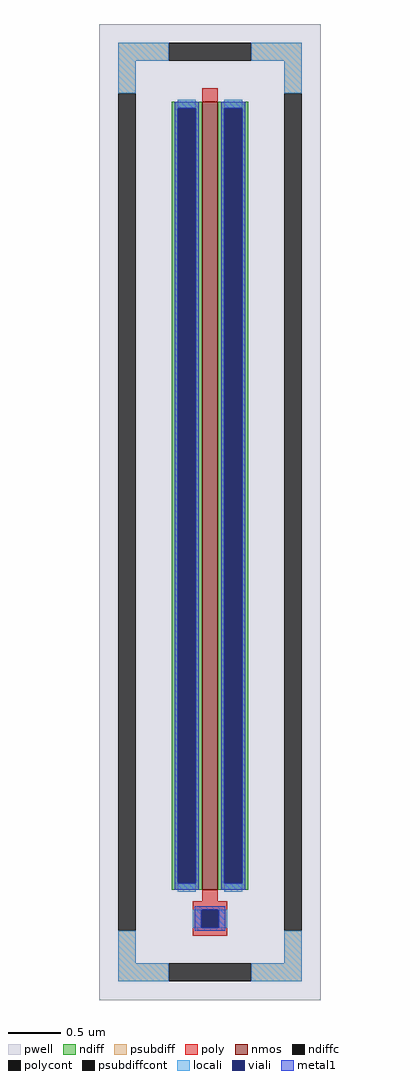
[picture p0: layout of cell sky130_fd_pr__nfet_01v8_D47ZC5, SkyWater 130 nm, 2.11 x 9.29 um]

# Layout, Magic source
magic
tech sky130A
magscale 1 2
<< pwell >>
rect -211 -929 211 929
<< nmos >>
rect -15 -719 15 781
<< ndiff >>
rect -73 769 -15 781
rect -73 -707 -61 769
rect -27 -707 -15 769
rect -73 -719 -15 -707
rect 15 769 73 781
rect 15 -707 27 769
rect 61 -707 73 769
rect 15 -719 73 -707
<< ndiffc >>
rect -61 -707 -27 769
rect 27 -707 61 769
<< psubdiff >>
rect -175 859 -79 893
rect 79 859 175 893
rect -175 797 -141 859
rect 141 797 175 859
rect -175 -859 -141 -797
rect 141 -859 175 -797
rect -175 -893 -79 -859
rect 79 -893 175 -859
<< psubdiffcont >>
rect -79 859 79 893
rect -175 -797 -141 797
rect 141 -797 175 797
rect -79 -893 79 -859
<< poly >>
rect -15 781 15 807
rect -15 -741 15 -719
rect -33 -757 33 -741
rect -33 -791 -17 -757
rect 17 -791 33 -757
rect -33 -807 33 -791
<< polycont >>
rect -17 -791 17 -757
<< locali >>
rect -175 859 -79 893
rect 79 859 175 893
rect -175 797 -141 859
rect 141 797 175 859
rect -61 769 -27 785
rect -61 -723 -27 -707
rect 27 769 61 785
rect 27 -723 61 -707
rect -33 -791 -17 -757
rect 17 -791 33 -757
rect -175 -859 -141 -797
rect 141 -859 175 -797
rect -175 -893 -79 -859
rect 79 -893 175 -859
<< viali >>
rect -61 -707 -27 769
rect 27 -707 61 769
rect -17 -791 17 -757
<< metal1 >>
rect -67 769 -21 781
rect -67 -707 -61 769
rect -27 -707 -21 769
rect -67 -719 -21 -707
rect 21 769 67 781
rect 21 -707 27 769
rect 61 -707 67 769
rect 21 -719 67 -707
rect -29 -757 29 -751
rect -29 -791 -17 -757
rect 17 -791 29 -757
rect -29 -797 29 -791
<< properties >>
string FIXED_BBOX -158 -876 158 876
string gencell sky130_fd_pr__nfet_01v8
string library sky130
string parameters w 7.5 l 0.15 m 1 nf 1 diffcov 100 polycov 100 guard 1 glc 1 grc 1 gtc 1 gbc 1 tbcov 100 rlcov 100 topc 0 botc 1 poverlap 0 doverlap 1 lmin 0.15 wmin 0.42 compatible {sky130_fd_pr__nfet_01v8 sky130_fd_pr__nfet_01v8_lvt  sky130_fd_bs_flash__special_sonosfet_star  sky130_fd_pr__nfet_g5v0d10v5 sky130_fd_pr__nfet_05v0_nvt  sky130_fd_pr__nfet_03v3_nvt} full_metal 1 viasrc 100 viadrn 100 viagate 100 viagb 0 viagr 0 viagl 0 viagt 0
<< end >>
